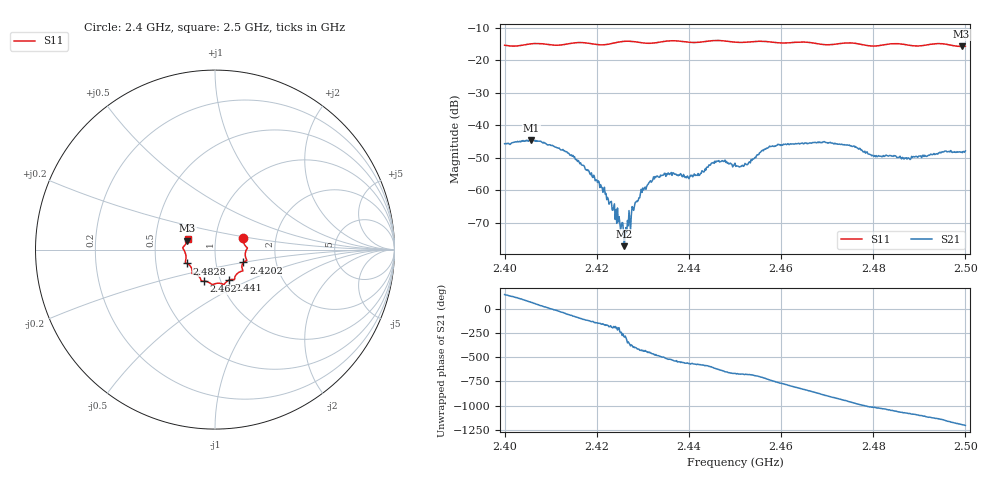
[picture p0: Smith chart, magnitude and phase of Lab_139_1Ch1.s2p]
# Hz S RI R 50
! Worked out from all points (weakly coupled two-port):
!   601 points, 2.4 GHz to 2.5 GHz, reference 50 ohm
!   highest |S21| = -44.60 dB at 2.4058 GHz (marker M1); lowest = -77.3 dB at 2.426 GHz (marker M2)
!   lowest |S11| = -15.8 dB at 2.4992 GHz (marker M3), VSWR 1.39, Z = 36.4 + j3.72 ohm
!   |S11| at or under -10 dB: start of sweep to end of sweep
!   S12 and S22 are empty: the file has one direction only
!   S11 on the Smith chart (normalised r, x): 2.4 GHz: 1.36, +0.17; 2.4202 GHz: 1.36, -0.20; 2.441 GHz: 1.10, -0.39; 2.462 GHz: 0.84, -0.30; 2.4828 GHz: 0.72, -0.11; 2.5 GHz: 0.73, +0.09
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2.4e9  0.158 0.0621  -0.00432 0.00286  0 0  0 0
2.405833e9  0.1784 0.0119  0.0025 0.00533  0 0  0 0
2.413e9  0.1699 -0.0399  0.00287 -0.00284  0 0  0 0
2.416667e9  0.1768 -0.0604  -0.000522 -0.00239  0 0  0 0
2.420167e9  0.158 -0.0717  -0.0011 -0.000699  0 0  0 0
2.426e9  0.156 -0.1173  5.32e-05 0.000126  0 0  0 0
2.428167e9  0.1508 -0.1199  0.00042 -0.000373  0 0  0 0
2.43e9  0.1357 -0.125  0.000387 -0.001  0 0  0 0
2.433333e9  0.1116 -0.1511  -0.000892 -0.00132  0 0  0 0
2.441e9  0.0781 -0.17  -0.00145 0.000847  0 0  0 0
2.446167e9  0.0497 -0.195  -0.000398 0.00277  0 0  0 0
2.45e9  0.0277 -0.1876  0.00157 0.00206  0 0  0 0
2.452833e9  0.000417 -0.1902  0.00193 0.00163  0 0  0 0
2.457667e9  -0.0236 -0.1896  0.00449 -0.00127  0 0  0 0
2.462e9  -0.0608 -0.1755  0.00121 -0.00501  0 0  0 0
2.466667e9  -0.0787 -0.1678  -0.00368 -0.0038  0 0  0 0
2.474667e9  -0.1269 -0.1342  -0.00258 0.00416  0 0  0 0
2.482833e9  -0.1571 -0.0768  0.00258 0.00229  0 0  0 0
2.483333e9  -0.1601 -0.0754  0.0027 0.00195  0 0  0 0
2.487667e9  -0.1623 -0.0526  0.00312 -0.000101  0 0  0 0
2.499167e9  -0.1548 0.0497  -0.00164 -0.00348  0 0  0 0
2.5e9  -0.1524 0.0614  -0.00228 -0.00329  0 0  0 0
